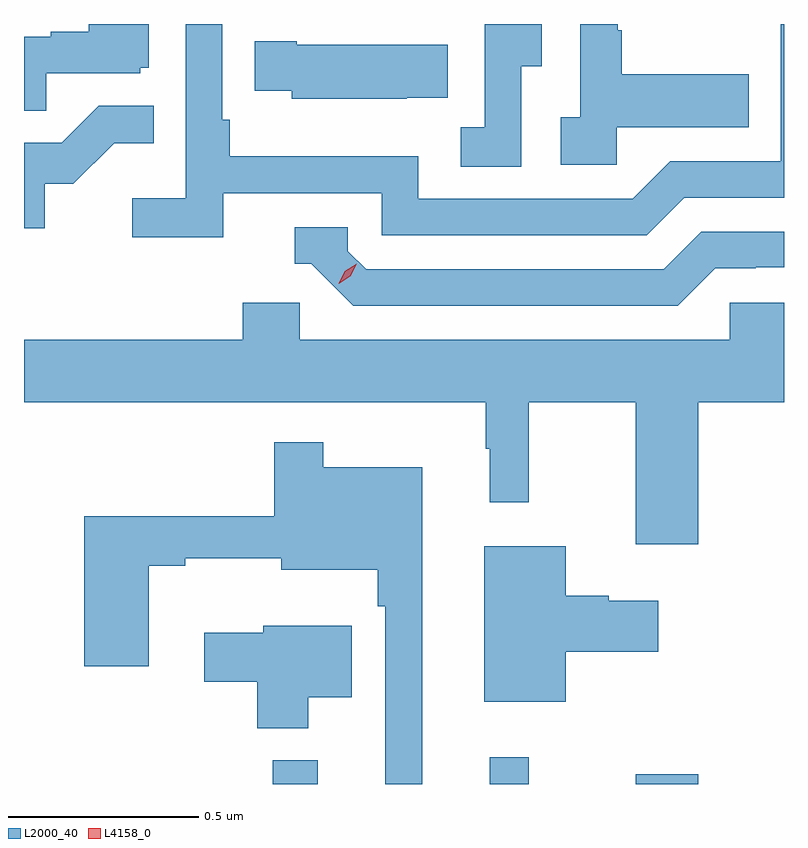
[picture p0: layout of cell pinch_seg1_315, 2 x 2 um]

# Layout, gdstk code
import gdstk
lib = gdstk.Library(unit=1e-6, precision=1e-09)
def R(c, l, rs):  # rectangles x0, y0, x1, y1
    for r in rs: c.add(gdstk.rectangle(r[:2], r[2:], *l))
def P(c, l, *ps):  # polygons
    for p in ps: c.add(gdstk.Polygon(p, *l))
L2000_40 = (2000, 40)
L4158_0 = (4158, 0)

pinch_seg1_315 = lib.new_cell('pinch_seg1_315')
R(pinch_seg1_315, L2000_40, [(943.273,558.719,943.391,558.781), (943.844,558.719,943.946,558.79), (944.228,558.719,944.392,558.745)])
P(pinch_seg1_315, L2000_40, [(943.142,560.274),(943.56,560.274),(943.56,560.163),(944.257,560.163),(944.356,560.262),(944.618,560.262),(944.618,560.719),(944.61,560.719),(944.61,560.358),(944.319,560.358),(944.22,560.259),(943.656,560.259),(943.656,560.371),(943.16,560.371),(943.16,560.467),(943.14,560.467),(943.14,560.719),(943.044,560.719),(943.044,560.26),(942.903,560.26),(942.903,560.158),(943.142,560.158)],
  [(943.926,560.608),(943.981,560.608),(943.981,560.719),(943.83,560.719),(943.83,560.447),(943.767,560.447),(943.767,560.344),(943.926,560.344)],
  [(944.178,560.447),(944.525,560.447),(944.525,560.587),(944.191,560.587),(944.191,560.702),(944.181,560.702),(944.181,560.719),(944.082,560.719),(944.082,560.474),(944.031,560.474),(944.031,560.349),(944.178,560.349)],
  [(942.677,560.589),(942.924,560.589),(942.924,560.604),(942.946,560.604),(942.946,560.719),(942.788,560.719),(942.788,560.698),(942.689,560.698),(942.689,560.685),(942.618,560.685),(942.618,560.491),(942.677,560.491)],
  [(943.625,560.525),(943.733,560.525),(943.733,560.665),(943.336,560.665),(943.336,560.673),(943.225,560.673),(943.225,560.543),(943.323,560.543),(943.323,560.522),(943.625,560.522)],
  [(942.672,560.298),(942.748,560.298),(942.855,560.405),(942.959,560.405),(942.959,560.504),(942.815,560.504),(942.717,560.406),(942.618,560.406),(942.618,560.181),(942.672,560.181)],
  [(944.437,560.076),(944.544,560.076),(944.544,560.079),(944.618,560.079),(944.618,560.172),(944.4,560.172),(944.301,560.073),(943.518,560.073),(943.47,560.121),(943.47,560.184),(943.331,560.184),(943.331,560.088),(943.374,560.088),(943.485,559.977),(944.338,559.977)],
  [(944.392,559.724),(944.618,559.724),(944.618,559.986),(944.475,559.986),(944.475,559.888),(943.344,559.888),(943.344,559.986),(943.193,559.986),(943.193,559.888),(942.618,559.888),(942.618,559.724),(943.833,559.724),(943.833,559.601),(943.844,559.601),(943.844,559.461),(943.946,559.461),(943.946,559.724),(944.228,559.724),(944.228,559.35),(944.392,559.35)],
  [(943.666,559.552),(943.405,559.552),(943.405,559.618),(943.276,559.618),(943.276,559.423),(942.776,559.423),(942.776,559.029),(942.946,559.029),(942.946,559.294),(943.042,559.294),(943.042,559.313),(943.295,559.313),(943.295,559.283),(943.549,559.283),(943.549,559.187),(943.569,559.187),(943.569,558.719),(943.666,558.719)],
  [(944.044,559.067),(944.287,559.067),(944.287,559.201),(944.157,559.201),(944.157,559.214),(944.044,559.214),(944.044,559.345),(943.829,559.345),(943.829,558.935),(944.044,558.935)],
  [(943.366,558.947),(943.48,558.947),(943.48,559.135),(943.248,559.135),(943.248,559.117),(943.092,559.117),(943.092,558.988),(943.232,558.988),(943.232,558.866),(943.366,558.866)])
P(pinch_seg1_315, L4158_0, [(943.446,560.035),(943.446,560.036),(943.462,560.068),(943.493,560.088),(943.493,560.088),(943.493,560.088),(943.477,560.055),(943.446,560.035)])

lib.write_gds('pinch_seg1_315.gds')
